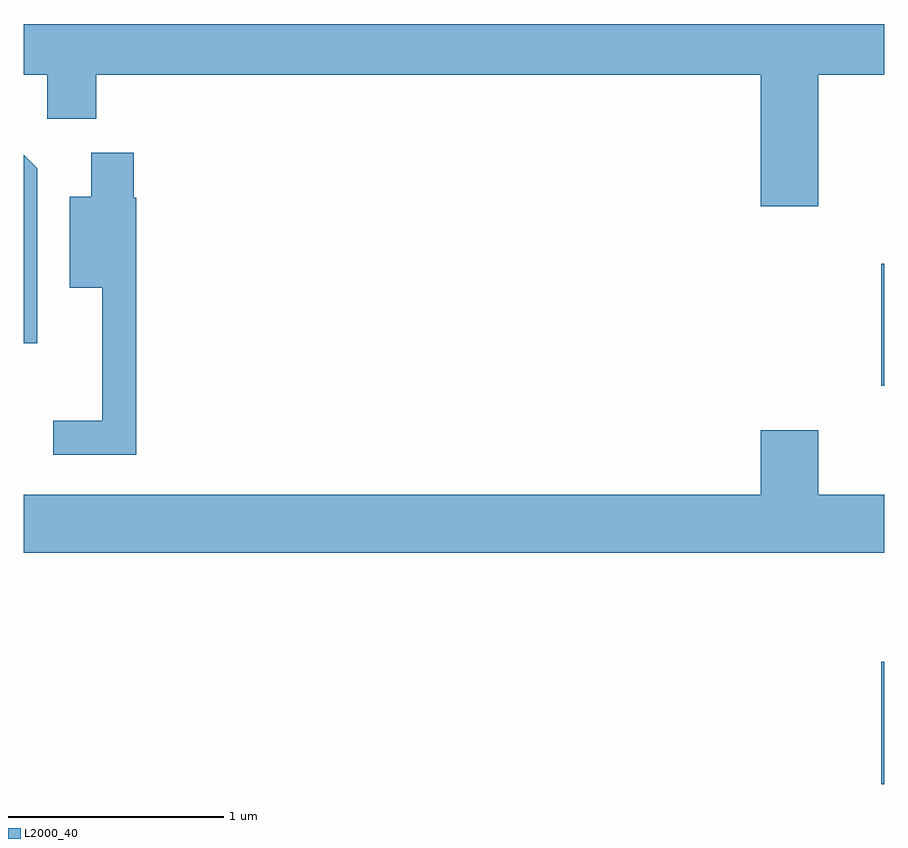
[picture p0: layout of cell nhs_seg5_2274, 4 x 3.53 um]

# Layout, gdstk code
import gdstk
lib = gdstk.Library(unit=1e-6, precision=1e-09)
def R(c, l, rs):  # rectangles x0, y0, x1, y1
    for r in rs: c.add(gdstk.rectangle(r[:2], r[2:], *l))
def P(c, l, *ps):  # polygons
    for p in ps: c.add(gdstk.Polygon(p, *l))
L2000_40 = (2000, 40)

nhs_seg5_2274 = lib.new_cell('nhs_seg5_2274')
R(nhs_seg5_2274, L2000_40, [(255.596,1524.541,255.611,1525.109), (255.596,1526.391,255.611,1526.959)])
P(nhs_seg5_2274, L2000_40, [(255.304,1527.836),(255.611,1527.836),(255.611,1528.072),(251.611,1528.072),(251.611,1527.836),(251.721,1527.836),(251.721,1527.631),(251.949,1527.631),(251.949,1527.836),(255.036,1527.836),(255.036,1527.226),(255.304,1527.226)],
  [(252.134,1527.265),(252.124,1527.265),(252.124,1527.474),(251.926,1527.474),(251.926,1527.269),(251.826,1527.269),(251.826,1526.846),(251.976,1526.846),(251.976,1526.229),(251.748,1526.229),(251.748,1526.071),(252.134,1526.071)],
  [(251.674,1527.402),(251.611,1527.465),(251.611,1526.588),(251.674,1526.588)],
  [(255.611,1525.884),(255.304,1525.884),(255.304,1526.184),(255.036,1526.184),(255.036,1525.884),(251.611,1525.884),(251.611,1525.616),(255.611,1525.616)])

lib.write_gds('nhs_seg5_2274.gds')
